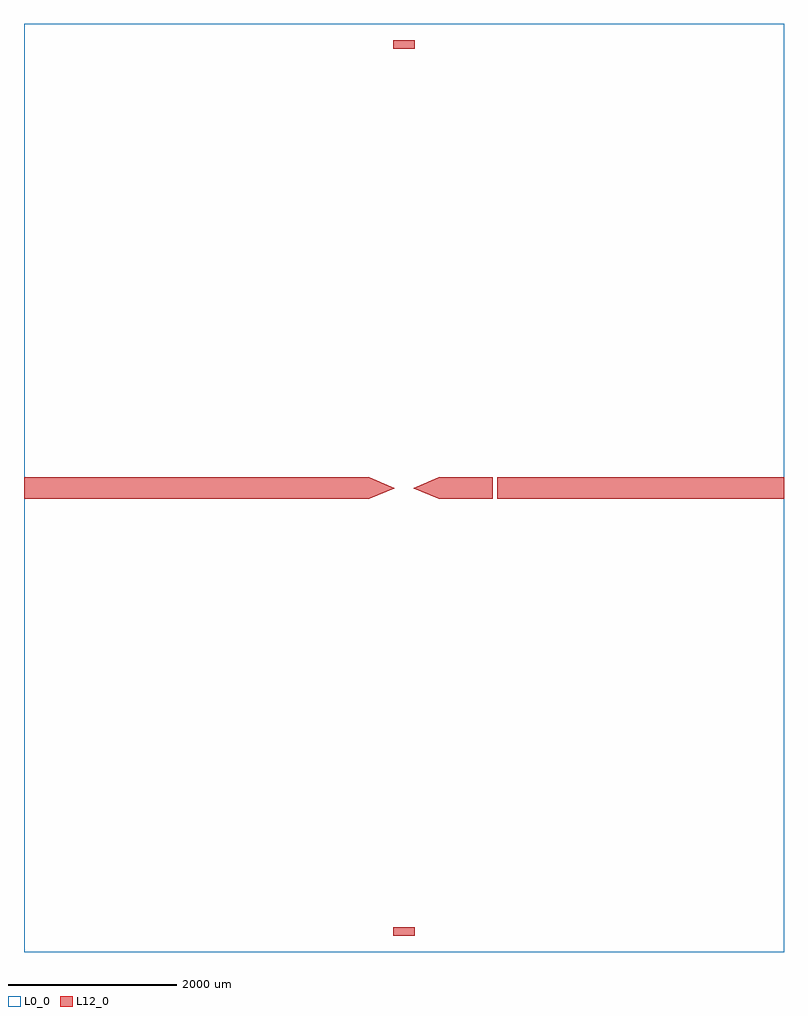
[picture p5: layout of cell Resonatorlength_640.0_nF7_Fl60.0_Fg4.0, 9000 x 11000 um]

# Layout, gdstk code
import gdstk
lib = gdstk.Library(unit=1e-6, precision=1e-09)
def R(c, l, rs):  # rectangles x0, y0, x1, y1
    for r in rs: c.add(gdstk.rectangle(r[:2], r[2:], *l))
def P(c, l, *ps):  # polygons
    for p in ps: c.add(gdstk.Polygon(p, *l))
L0_0 = (0, 0)
L12_0 = (12, 0)

resonatorlength_640_0_nf = lib.new_cell('Resonatorlength_640.0_nF7_Fl60.0_Fg4.0')
R(resonatorlength_640_0_nf, L0_0, [(-4500,-5500,4500,5500)])
R(resonatorlength_640_0_nf, L12_0, [(-125,-5300,125,-5200), (-4500,-125,-1116,125), (-1116,-125,-1056,-92.714), (-1052,-125,-412,125), (412,-125,1052,125), (1102,-125,4500,125), (-1112,-88.714,-1052,-56.429), (-1116,-52.429,-1056,-20.143), (-1112,-16.143,-1052,16.143), (-1116,20.143,-1056,52.429), (-1112,56.429,-1052,88.714), (-1116,92.714,-1056,125), (-125,5200,125,5300)])
P(resonatorlength_640_0_nf, L12_0, [(-412,125),(-412,-125),(-109.5,0)],
  [(412,125),(412,-125),(109.5,0)])

lib.write_gds('Resonatorlength_640.0_nF7_Fl60.0_Fg4.0.gds')
